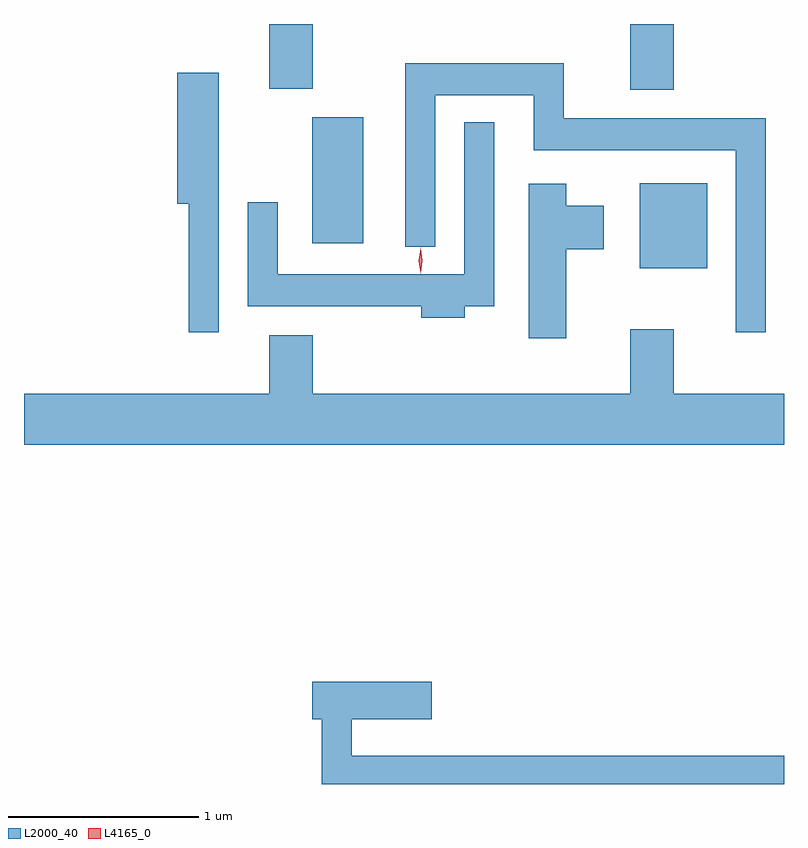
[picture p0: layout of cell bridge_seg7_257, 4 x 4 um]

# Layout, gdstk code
import gdstk
lib = gdstk.Library(unit=1e-6, precision=1e-09)
def R(c, l, rs):  # rectangles x0, y0, x1, y1
    for r in rs: c.add(gdstk.rectangle(r[:2], r[2:], *l))
def P(c, l, *ps):  # polygons
    for p in ps: c.add(gdstk.Polygon(p, *l))
L2000_40 = (2000, 40)
L4165_0 = (4165, 0)

bridge_seg7_257 = lib.new_cell('bridge_seg7_257')
R(bridge_seg7_257, L2000_40, [(1449.461,1761.866,1449.814,1762.314), (1447.736,1761.996,1448.004,1762.659), (1449.411,1762.806,1449.639,1763.151), (1447.511,1762.811,1447.739,1763.151)])
P(bridge_seg7_257, L2000_40, [(1450.124,1762.654),(1449.059,1762.654),(1449.059,1762.944),(1448.226,1762.944),(1448.226,1761.978),(1448.384,1761.978),(1448.384,1762.776),(1448.901,1762.776),(1448.901,1762.486),(1449.966,1762.486),(1449.966,1761.528),(1450.124,1761.528)],
  [(1447.244,1762.894),(1447.026,1762.894),(1447.026,1762.206),(1447.086,1762.206),(1447.086,1761.528),(1447.244,1761.528)],
  [(1448.539,1761.666),(1448.694,1761.666),(1448.694,1762.633),(1448.536,1762.633),(1448.536,1761.834),(1447.554,1761.834),(1447.554,1762.213),(1447.396,1762.213),(1447.396,1761.666),(1448.311,1761.666),(1448.311,1761.606),(1448.539,1761.606)],
  [(1449.074,1761.966),(1449.269,1761.966),(1449.269,1762.194),(1449.074,1762.194),(1449.074,1762.309),(1448.876,1762.309),(1448.876,1761.496),(1449.074,1761.496)],
  [(1450.219,1761.204),(1449.639,1761.204),(1449.639,1761.544),(1449.411,1761.544),(1449.411,1761.204),(1447.739,1761.204),(1447.739,1761.514),(1447.511,1761.514),(1447.511,1761.204),(1446.219,1761.204),(1446.219,1760.936),(1450.219,1760.936)],
  [(1450.219,1759.299),(1447.944,1759.299),(1447.944,1759.491),(1448.364,1759.491),(1448.364,1759.689),(1447.736,1759.689),(1447.736,1759.491),(1447.786,1759.491),(1447.786,1759.151),(1450.219,1759.151)])
P(bridge_seg7_257, L4165_0, [(1448.307,1761.839),(1448.306,1761.84),(1448.296,1761.906),(1448.306,1761.972),(1448.306,1761.973),(1448.307,1761.972),(1448.316,1761.906),(1448.307,1761.84)])

lib.write_gds('bridge_seg7_257.gds')
